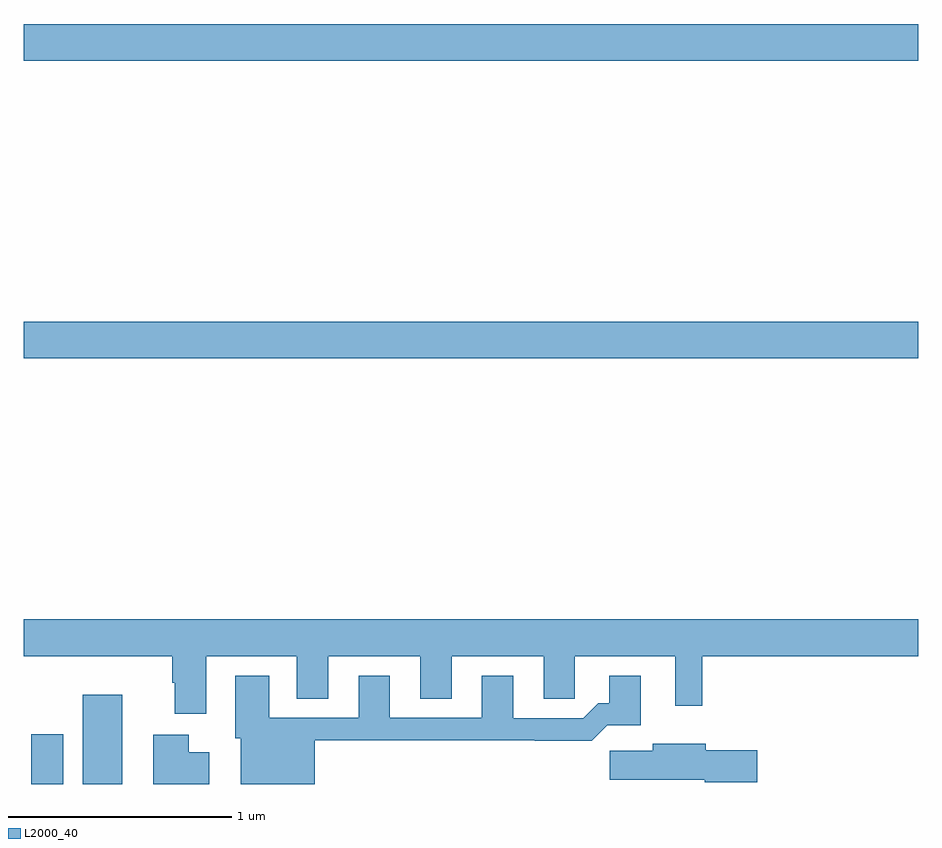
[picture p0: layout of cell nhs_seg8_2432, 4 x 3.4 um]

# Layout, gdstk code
import gdstk
lib = gdstk.Library(unit=1e-6, precision=1e-09)
def R(c, l, rs):  # rectangles x0, y0, x1, y1
    for r in rs: c.add(gdstk.rectangle(r[:2], r[2:], *l))
def P(c, l, *ps):  # polygons
    for p in ps: c.add(gdstk.Polygon(p, *l))
L2000_40 = (2000, 40)

nhs_seg8_2432 = lib.new_cell('nhs_seg8_2432')
R(nhs_seg8_2432, L2000_40, [(263.033,1143.9,263.176,1144.123), (263.264,1143.9,263.44,1144.3), (263,1145.804,267,1145.968), (263,1147.136,267,1147.3)])
P(nhs_seg8_2432, L2000_40, [(263.815,1144.472),(264.221,1144.472),(264.221,1144.282),(264.361,1144.282),(264.361,1144.472),(264.773,1144.472),(264.773,1144.282),(264.913,1144.282),(264.913,1144.472),(265.325,1144.472),(265.325,1144.282),(265.464,1144.282),(265.464,1144.472),(265.913,1144.472),(265.913,1144.251),(266.035,1144.251),(266.035,1144.472),(267,1144.472),(267,1144.636),(263,1144.636),(263,1144.472),(263.663,1144.472),(263.663,1144.352),(263.675,1144.352),(263.675,1144.215),(263.815,1144.215)],
  [(264.301,1144.096),(265.285,1144.096),(265.285,1144.094),(265.541,1144.094),(265.61,1144.163),(265.759,1144.163),(265.759,1144.384),(265.619,1144.384),(265.619,1144.261),(265.57,1144.261),(265.503,1144.194),(265.189,1144.194),(265.189,1144.384),(265.049,1144.384),(265.049,1144.197),(264.637,1144.197),(264.637,1144.384),(264.497,1144.384),(264.497,1144.197),(264.097,1144.197),(264.097,1144.384),(263.945,1144.384),(263.945,1144.104),(263.969,1144.104),(263.969,1143.9),(264.301,1143.9)],
  [(263.83,1144.042),(263.737,1144.042),(263.737,1144.12),(263.579,1144.12),(263.579,1143.9),(263.83,1143.9)],
  [(266.281,1144.05),(266.05,1144.05),(266.05,1144.081),(265.814,1144.081),(265.814,1144.049),(265.62,1144.049),(265.62,1143.92),(266.046,1143.92),(266.046,1143.908),(266.281,1143.908)])

lib.write_gds('nhs_seg8_2432.gds')
